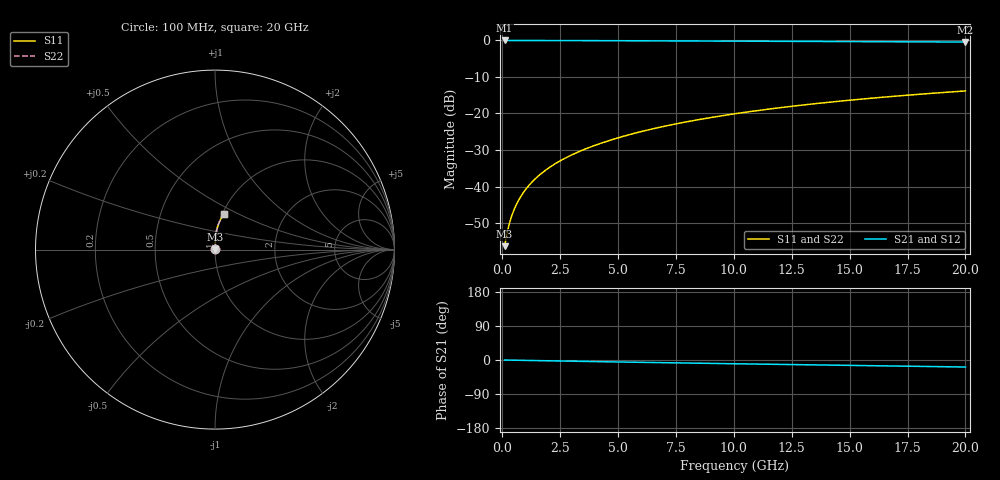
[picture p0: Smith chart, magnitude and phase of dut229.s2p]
! Touchstone file exported from HFSS 2024.1.0
!  File:  C:/UserFiles/LocalFiles/RDL_TSV_Batchsim/temp_RDL_bottom_229_1778700787.aedt
!  Generated:  03:35:52 AM May 14, 2026
!  Design:  RDL_bottom
!  Project:  temp_RDL_bottom_229_1778700787
!  Setup:  Setup1
!  Solution:  Sweep
! Variables:
!  dtsv = 10.80580581um
!  hbump = 3um
!  htsv = 50.4um
!  ldown = 233.7um
!  lrdl = 100um
!  p = 40
!  p1 = 50.22um
!  rhole = 1um
!  t = 450um
!  tdown = 3.82um
!  trdl = 3.915915916um
!  wdown = 22.06um
!  wrdl = 20um
# GHz S MA R 50.000000
! Terminal data exported
! Port[1] = RDL1_T1
! Port[2] = RDL1_T2
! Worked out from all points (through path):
!   200 points, 100 MHz to 20 GHz, reference 50 ohm
!   highest |S21| = -0.01 dB at 100 MHz (marker M1); lowest = -0.4 dB at 20 GHz (marker M2)
!   group delay of S21, straight-line fit = 2.54 ps
!   lowest |S11| = -56.3 dB at 100 MHz (marker M3), VSWR 1.00, Z = 50.1 + j0.0969 ohm
!   |S11| at or under -10 dB: start of sweep to end of sweep
!   |S22| runs from -56.3 to -13.8 dB; largest |S21 - S12| = 2.7e-15
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0.1  0.001528 39.2  0.9988 -0.1  0.9988 -0.1  0.001528 39.2
! Gamma 0 0 0 0
! Port Impedance 50 0 50 0
0.2  0.002266 56.9  0.9987 -0.2  0.9987 -0.2  0.002266 56.9
0.3  0.00308 65.3  0.9987 -0.3  0.9987 -0.3  0.00308 65.3
0.4  0.003911 70.2  0.9986 -0.4  0.9986 -0.4  0.003911 70.2
0.5  0.00475 73.5  0.9985 -0.5  0.9985 -0.5  0.00475 73.5
0.6  0.005597 75.9  0.9985 -0.7  0.9985 -0.7  0.005597 75.9
0.8  0.007311 79.2  0.9983 -0.9  0.9983 -0.9  0.007311 79.2
1.1  0.009921 82.2  0.9981 -1.2  0.9981 -1.2  0.009921 82.2
1.5  0.01345 84.5  0.9977 -1.6  0.9977 -1.6  0.01345 84.5
1.8  0.01613 85.6  0.9973 -1.9  0.9973 -1.9  0.01613 85.6
2.1  0.01884 86.4  0.9969 -2.3  0.9969 -2.3  0.01884 86.4
2.7  0.02433 87.5  0.996 -2.9  0.996 -2.9  0.02433 87.5
3.5  0.03183 88.4  0.9944 -3.7  0.9944 -3.7  0.03183 88.4
4.2  0.03856 88.8  0.9928 -4.4  0.9928 -4.4  0.03857 88.8
5  0.04644 88.9  0.9909 -5.2  0.9909 -5.2  0.04644 88.9
5.9  0.05551 88.8  0.9885 -6.1  0.9885 -6.1  0.05552 88.8
6.8  0.06478 88.4  0.9861 -6.9  0.9861 -6.9  0.06478 88.4
8.4  0.08158 87.4  0.9817 -8.4  0.9817 -8.4  0.08159 87.4
10.1  0.09972 86.1  0.9771 -10.0  0.9771 -10.0  0.09972 86.1
13.4  0.135 83.0  0.9684 -12.9  0.9684 -12.9  0.135 83.0
16.7  0.1698 79.7  0.9596 -15.7  0.9596 -15.7  0.1698 79.7
20  0.2035 76.4  0.9505 -18.5  0.9505 -18.5  0.2035 76.4
